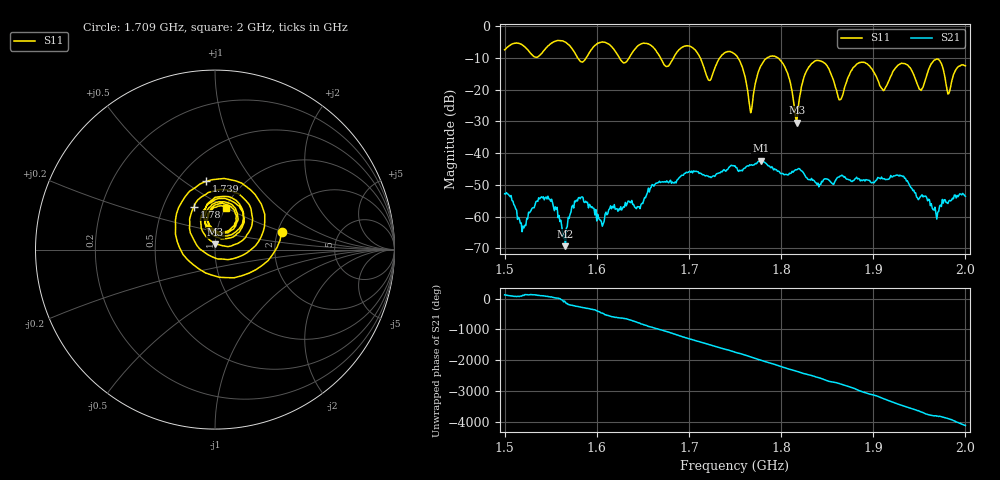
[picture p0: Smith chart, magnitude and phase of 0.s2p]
! NanoVNA-App by SYSJOINT et al v1.1.209 (+OD18)
! Date: 2026-01-21 14:17:52
! Start: 1,5GHz Stop: 2GHz Points: 501
! S-Parameter data: F S11 S21 S12 S22
# Hz S RI R 50
!  Frequency  S11_Real  S11_Imag  S21_Real  S21_Imag  S12_Real  S12_Imag  S22_Real  S22_Imag
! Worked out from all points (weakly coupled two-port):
!   501 points, 1.5 GHz to 2 GHz, reference 50 ohm
!   highest |S21| = -42.32 dB at 1.778 GHz (marker M1); lowest = -69.3 dB at 1.566 GHz (marker M2)
!   lowest |S11| = -30.4 dB at 1.817 GHz (marker M3), VSWR 1.06, Z = 50.1 + j3.02 ohm
!   |S11| at or under -10 dB: 1.712 GHz to 1.733 GHz (21.2 MHz wide, 1.23 % of centre); 1.753 GHz to 1.785 GHz (31.26 MHz wide, 1.77 % of centre); 1.797 GHz to end of sweep (the widest 3 of 6)
!   S12 and S22 are empty: the file has one direction only
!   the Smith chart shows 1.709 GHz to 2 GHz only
!   S11 on the Smith chart (normalised r, x): 1.709 GHz: 2.11, +0.48; 1.739 GHz: 0.68, +0.61; 1.78 GHz: 0.71, +0.36; 2 GHz: 1.01, +0.49
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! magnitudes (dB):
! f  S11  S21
! 1.5 GHz  -7.4  -52.8
! 1.521 GHz  -6.3  -63.6
! 1.549 GHz  -5.7  -54.5
! 1.566 GHz  -5.0  -69.3
! 1.584 GHz  -11.3  -53.8
! 1.606 GHz  -5.0  -63.0
! 1.667 GHz  -8.8  -49.2
! 1.709 GHz  -8.3  -45.8
! 1.722 GHz  -17.1  -47.5
! 1.739 GHz  -8.3  -45.4
! 1.75 GHz  -8.8  -44.0
! 1.767 GHz  -27.3  -43.8
! 1.778 GHz  -12.5  -42.3
! 1.78 GHz  -11.5  -42.7
! 1.802 GHz  -11.8  -46.4
! 1.817 GHz  -30.4  -45.2
! 1.834 GHz  -11.6  -48.6
! 1.864 GHz  -23.1  -47.2
! 1.885 GHz  -11.4  -48.2
! 1.917 GHz  -17.2  -48.2
! 1.969 GHz  -10.3  -60.8
! 2 GHz  -12.4  -53.6
